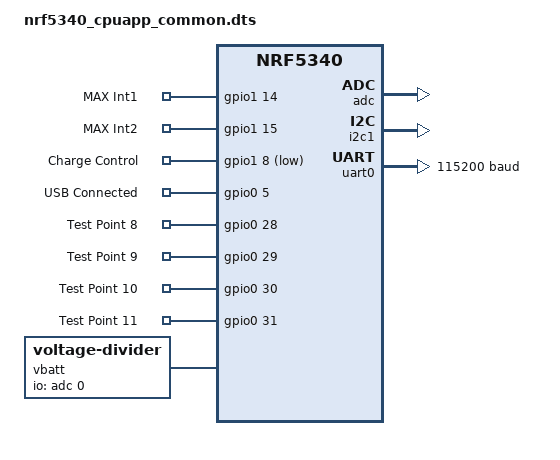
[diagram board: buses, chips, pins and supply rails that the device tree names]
/*
 * Copyright (c) 2019-2020 Nordic Semiconductor ASA
 *
 * SPDX-License-Identifier: Apache-2.0
 */
#include "nrf5340_cpuapp_common-pinctrl.dtsi"

/ {

	chosen {
		zephyr,console = &uart0;
		zephyr,shell-uart = &uart0;
		zephyr,uart-mcumgr = &uart0;
		zephyr,bt-mon-uart = &uart0;
		zephyr,bt-c2h-uart = &uart0;
		zephyr,bt-hci-rpmsg-ipc = &ipc0;
	};


	control {
		compatible = "gpio-keys";
		maxint1: maxint_1 {
			gpios = <&gpio1 14 (GPIO_ACTIVE_HIGH)>;
			label = "MAX Int1";
		};
		maxint2: maxint_2 {
			gpios = <&gpio1 15 (GPIO_ACTIVE_HIGH)>;
			label = "MAX Int2";
		};
		chrgctl: chrg_ctl {
			gpios = <&gpio1 8 (GPIO_ACTIVE_LOW)>;
			label = "Charge Control";
		};
		usbcon: usb_con {
			gpios = <&gpio0 5 (GPIO_ACTIVE_HIGH)>;
			label = "USB Connected";
		};
		testpt8: testpt_8 {
			gpios = <&gpio0 28 (GPIO_ACTIVE_HIGH)>;
			label = "Test Point 8";
		};
		testpt9: testpt_9 {
			gpios = <&gpio0 29 (GPIO_ACTIVE_HIGH)>;
			label = "Test Point 9";
		};
		testpt10: testpt_10 {
			gpios = <&gpio0 30 (GPIO_ACTIVE_HIGH)>;
			label = "Test Point 10";
		};
		testpt11: testpt_11 {
			gpios = <&gpio0 31 (GPIO_ACTIVE_HIGH)>;
			label = "Test Point 11";
		};
	};

	gpio_fwd: nrf-gpio-forwarder {
		compatible = "nordic,nrf-gpio-forwarder";
		status = "okay";
		uart {
			gpios = <&gpio1 1 0>, <&gpio1 0 0>, <&gpio0 11 0>, <&gpio0 10 0>;
		};
	};


};

&adc {
	status = "okay";
};

&gpiote {
	status = "okay";
};

&gpio0 {
	status = "okay";
};

&gpio1 {
	status = "okay";
};

&i2c1 {
	compatible = "nordic,nrf-twim";
	status = "okay";
	pinctrl-0 = <&i2c1_default>;
	pinctrl-1 = <&i2c1_sleep>;
	pinctrl-names = "default", "sleep";
};

&uart0 {
	status = "okay";
	current-speed = <115200>;
	pinctrl-0 = <&uart0_default>;
	pinctrl-1 = <&uart0_sleep>;
	pinctrl-names = "default", "sleep";
};

&flash0 {

	partitions {
		compatible = "fixed-partitions";
		#address-cells = <1>;
		#size-cells = <1>;

		boot_partition: partition@0 {
			label = "mcuboot";
			reg = <0x00000000 0x00010000>;
		};
		slot0_partition: partition@10000 {
			label = "image-0";
		};
		slot0_ns_partition: partition@50000 {
			label = "image-0-nonsecure";
		};
		slot1_partition: partition@80000 {
			label = "image-1";
		};
		slot1_ns_partition: partition@c0000 {
			label = "image-1-nonsecure";
		};
		scratch_partition: partition@f0000 {
			label = "image-scratch";
			reg = <0x000f0000 0xa000>;
		};
		storage_partition: partition@fa000 {
			label = "storage";
			reg = <0x000fa000 0x00006000>;
		};
	};
};

/ {

	reserved-memory {
		#address-cells = <1>;
		#size-cells = <1>;
		ranges;

		sram0_image: image@20000000 {
			/* Zephyr image(s) memory */
		};

		sram0_s: image_s@20000000 {
			/* Secure image memory */
		};

		sram0_ns: image_ns@20040000 {
			/* Non-Secure image memory */
		};
	};
};

/{
	vbatt {
		compatible = "voltage-divider";
		io-channels = <&adc 0>;
		output-ohms = <604000>;
		full-ohms = <(604000 + 3600000)>;
	};
};
/* Include partition configuration file */
#include "nrf5340_cpuapp_partition_conf.dts"
